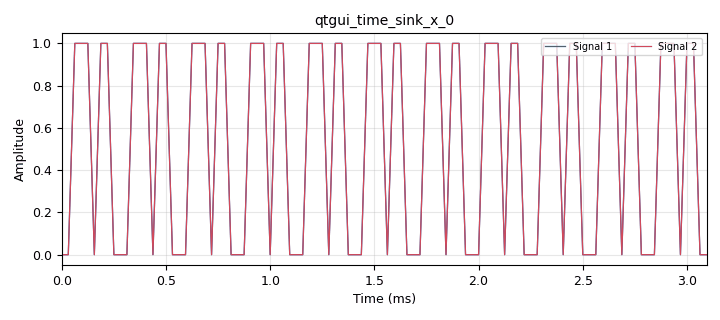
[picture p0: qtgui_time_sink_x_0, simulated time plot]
options:
  parameters:
    generate_options: qt_gui
    id: GFSK
    output_language: python
    title: GFSK Modulation
  states: {}

blocks:
- name: delay
  id: variable_qtgui_range
  parameters:
    label: Delay
    start: '0'
    step: '1'
    stop: '100'
    value: '0'
  states: {}
- name: samp_rate
  id: variable
  parameters:
    value: 32e3
  states: {}
- name: blocks_delay_0
  id: blocks_delay
  parameters:
    delay: delay
    type: float
  states: {}
- name: blocks_pack_k_bits_bb_0
  id: blocks_pack_k_bits_bb
  parameters:
    k: '8'
  states: {state: disabled}
- name: blocks_repack_bits_bb_0
  id: blocks_repack_bits_bb
  parameters:
    endianness: gr.GR_MSB_FIRST
    k: '1'
    l: '8'
  states: {}
- name: blocks_stream_to_tagged_stream_0
  id: blocks_stream_to_tagged_stream
  parameters:
    len_tag_key: '"packet_len"'
    packet_len: '9'
    type: byte
  states: {}
- name: blocks_tag_debug_0
  id: blocks_tag_debug
  parameters:
    type: byte
  states: {state: disabled}
- name: blocks_throttle2_0
  id: blocks_throttle2
  parameters:
    samples_per_second: samp_rate
    type: byte
  states: {state: disabled}
- name: blocks_uchar_to_float_0
  id: blocks_uchar_to_float
  parameters: {}
  states: {}
- name: blocks_uchar_to_float_0_0
  id: blocks_uchar_to_float
  parameters: {}
  states: {state: disabled}
- name: blocks_uchar_to_float_0_1
  id: blocks_uchar_to_float
  parameters: {}
  states: {}
- name: blocks_unpack_k_bits_bb_0
  id: blocks_unpack_k_bits_bb
  parameters:
    k: '8'
  states: {state: disabled}
- name: blocks_vector_source_x_0
  id: blocks_vector_source_x
  parameters:
    repeat: 'True'
    type: byte
    vector: (0,0,0,1,1,1,0,1,1)
  states: {}
- name: digital_gfsk_demod_0
  id: digital_gfsk_demod
  parameters:
    freq_error: '0.0'
    gain_mu: '0.175'
    mu: '0.5'
    omega_relative_limit: '0.005'
    samples_per_symbol: '2'
    sensitivity: '1.0'
  states: {}
- name: digital_gfsk_mod_0
  id: digital_gfsk_mod
  parameters:
    bt: '0.35'
    samples_per_symbol: '2'
    sensitivity: '1.0'
  states: {}
- name: qtgui_time_sink_x_0
  id: qtgui_time_sink_x
  parameters:
    autoscale: 'True'
    entags: 'False'
    nconnections: '2'
    size: '100'
    srate: samp_rate
    type: float
  states: {}
- name: qtgui_time_sink_x_1
  id: qtgui_time_sink_x
  parameters:
    autoscale: 'True'
    name: '"Demod packed signal"'
    size: '1000'
    srate: samp_rate
    type: float
  states: {state: disabled}

connections:
- [blocks_delay_0, '0', qtgui_time_sink_x_0, '1']
- [blocks_pack_k_bits_bb_0, '0', blocks_uchar_to_float_0_0, '0']
- [blocks_repack_bits_bb_0, '0', blocks_uchar_to_float_0, '0']
- [blocks_stream_to_tagged_stream_0, '0', blocks_uchar_to_float_0_1, '0']
- [blocks_stream_to_tagged_stream_0, '0', blocks_unpack_k_bits_bb_0, '0']
- [blocks_stream_to_tagged_stream_0, '0', digital_gfsk_mod_0, '0']
- [blocks_throttle2_0, '0', blocks_tag_debug_0, '0']
- [blocks_throttle2_0, '0', blocks_uchar_to_float_0_1, '0']
- [blocks_throttle2_0, '0', digital_gfsk_mod_0, '0']
- [blocks_uchar_to_float_0, '0', qtgui_time_sink_x_0, '0']
- [blocks_uchar_to_float_0_0, '0', qtgui_time_sink_x_1, '0']
- [blocks_uchar_to_float_0_1, '0', blocks_delay_0, '0']
- [blocks_unpack_k_bits_bb_0, '0', blocks_throttle2_0, '0']
- [blocks_vector_source_x_0, '0', blocks_stream_to_tagged_stream_0, '0']
- [digital_gfsk_demod_0, '0', blocks_pack_k_bits_bb_0, '0']
- [digital_gfsk_demod_0, '0', blocks_repack_bits_bb_0, '0']
- [digital_gfsk_demod_0, '0', blocks_uchar_to_float_0_0, '0']
- [digital_gfsk_mod_0, '0', digital_gfsk_demod_0, '0']

metadata:
  file_format: 1
  grc_version: 3.10.11.0
